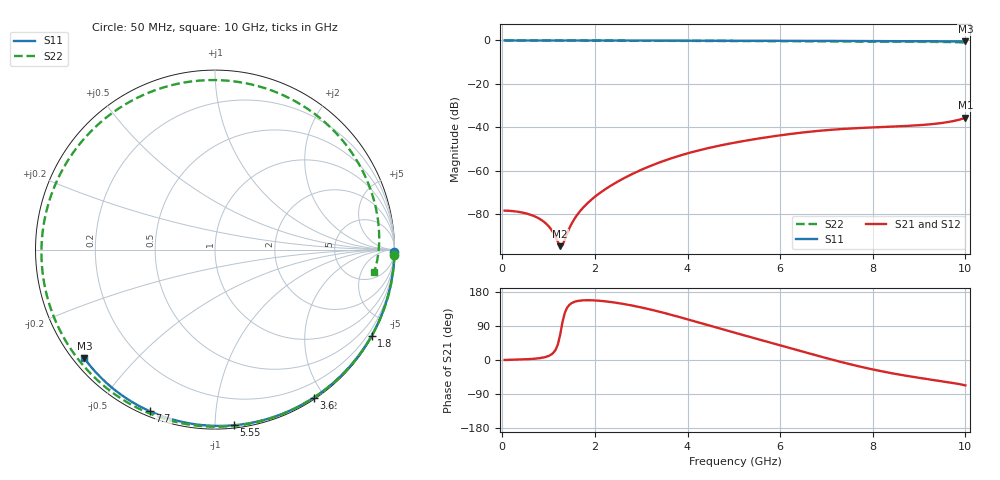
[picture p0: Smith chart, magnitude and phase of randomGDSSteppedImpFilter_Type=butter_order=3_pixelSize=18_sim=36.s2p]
! freq	dB(S11)	phase(S11)	dB(S12)	phase(S12)
!  dB(S21)	phase(S21)	dB(S22)	phase(S22)
!S-par simulation data
#  GHz  S  DB  R 50
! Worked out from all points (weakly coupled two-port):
!   200 points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, 50 MHz to 10 GHz, reference 50 ohm
!   highest |S21| = -35.59 dB at 10 GHz (marker M1); lowest = -94.6 dB at 1.25 GHz (marker M2)
!   lowest |S11| = -0.5 dB at 10 GHz (marker M3), VSWR 36.59, Z = 1.55 - j18.1 ohm
!   |S11| at or under -10 dB: nowhere
!   |S22| runs from -1.0 to 0.0 dB; largest |S21 - S12| = 0
!   S11 on the Smith chart (normalised r, x): 50 MHz: open; 1.8 GHz: 0.03, -3.89; 3.6 GHz: 0.02, -1.87; 5.55 GHz: 0.02, -1.11; 7.7 GHz: 0.02, -0.68; 10 GHz: 0.03, -0.36
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0.05  -0.00 -0.8  -78.28 0.1  -78.28 0.1  -0.00 -1.6
0.65  -0.01 -10.5  -80.48 2.9  -80.48 2.9  -0.02 -21.4
1.25  -0.03 -20.1  -94.62 66.7  -94.62 66.7  -0.05 -40.8
1.6  -0.03 -25.7  -80.73 155.0  -80.73 155.0  -0.07 -52.0
1.75  -0.04 -28.0  -76.79 157.5  -76.79 157.5  -0.07 -56.8
1.8  -0.04 -28.8  -75.68 157.7  -75.68 157.7  -0.07 -58.3
2.1  -0.04 -33.5  -70.26 156.3  -70.26 156.3  -0.09 -67.8
2.45  -0.05 -38.9  -65.44 151.2  -65.44 151.2  -0.10 -78.7
3.4  -0.07 -53.3  -56.07 127.2  -56.07 127.2  -0.14 -108.1
3.6  -0.08 -56.3  -54.56 120.8  -54.56 120.8  -0.15 -114.2
4.3  -0.09 -66.4  -50.26 96.9  -50.26 96.9  -0.19 -136.0
5.05  -0.12 -77.0  -46.87 71.0  -46.87 71.0  -0.24 -160.1
5.55  -0.14 -83.9  -45.05 53.9  -45.05 53.9  -0.28 -177.0
6.15  -0.16 -91.9  -43.21 33.5  -43.21 33.5  -0.34 161.5
6.7  -0.19 -99.1  -41.85 14.8  -41.85 14.8  -0.39 140.3
7.25  -0.22 -106.2  -40.86 -3.2  -40.86 -3.2  -0.44 117.5
7.7  -0.26 -111.9  -40.29 -16.7  -40.29 -16.7  -0.48 97.7
8.35  -0.31 -120.0  -39.69 -33.5  -39.69 -33.5  -0.53 68.0
8.85  -0.35 -126.1  -39.18 -44.2  -39.18 -44.2  -0.57 44.7
9.25  -0.39 -131.0  -38.55 -51.6  -38.55 -51.6  -0.62 26.3
9.65  -0.43 -135.9  -37.44 -58.9  -37.44 -58.9  -0.71 8.1
10  -0.47 -140.2  -35.59 -66.9  -35.59 -66.9  -0.96 -8.1
